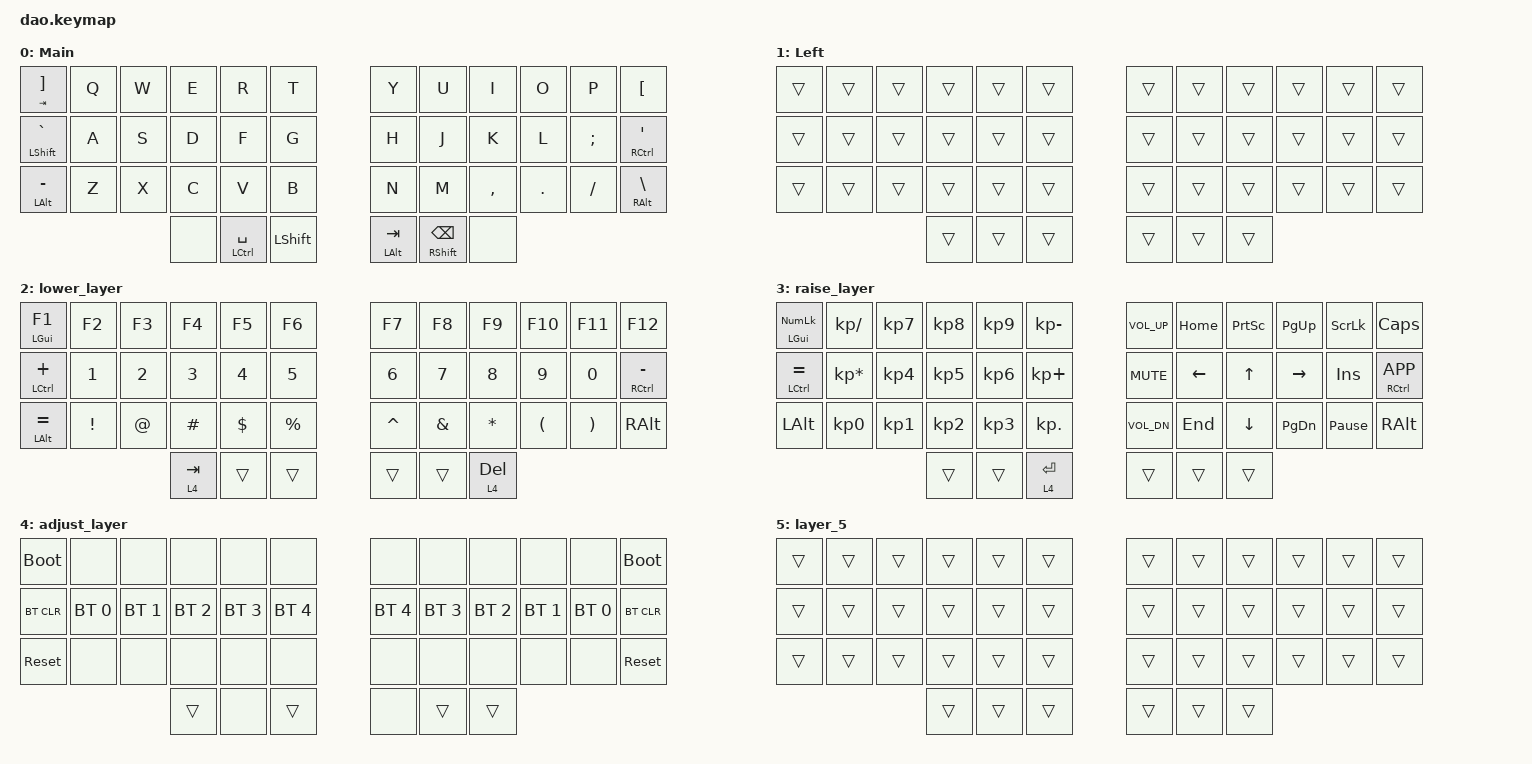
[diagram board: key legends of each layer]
/*
 * Copyright (c) 2021 Rafael Yumagulov
 *
 * SPDX-License-Identifier: MIT
 */

#include <behaviors.dtsi>
#include <dt-bindings/zmk/bt.h>
#include <dt-bindings/zmk/keys.h>

#define DEF 0
#define LWR 1
#define RSE 2
#define ADJ 3

&lt {
    quick_tap_ms = <200>;
};

&mt {
    quick_tap_ms = <200>;
};

/ {
    chosen {
        zmk,matrix_transform = &default_transform;

        // zmk,matrix_transform = &extra_keys_transform;
    };
};

/ {
    combos {
        compatible = "zmk,combos";

        esc_combo {
            bindings = <&kp ESCAPE>;
            key-positions = <1 2>;
            layers = <0>;
            timeout-ms = <50>;
        };

        enter_combo {
            bindings = <&kp ENTER>;
            key-positions = <16 15>;
        };
    };

    keymap {
        compatible = "zmk,keymap";

        Main {
            bindings = <
   &mt TAB RBKT  &kp Q  &kp W  &kp E                   &kp R       &kp T         &kp Y                &kp U      &kp I    &kp O     &kp P       &kp LBKT
&mt LSHFT GRAVE  &kp A  &kp S  &kp D                   &kp F       &kp G         &kp H                &kp J      &kp K    &kp L  &kp SEMI  &mt RCTRL SQT
 &mt LALT MINUS  &kp Z  &kp X  &kp C                   &kp V       &kp B         &kp N                &kp M  &kp COMMA  &kp DOT  &kp FSLH  &mt RALT BSLH
                               &none  &mt LEFT_CONTROL SPACE  &kp LSHIFT  &mt LALT TAB  &mt RSHFT BACKSPACE      &none
            >;
        };

        Left {
            bindings = <
&trans  &trans  &trans  &trans  &trans  &trans  &trans  &trans  &trans  &trans  &trans  &trans
&trans  &trans  &trans  &trans  &trans  &trans  &trans  &trans  &trans  &trans  &trans  &trans
&trans  &trans  &trans  &trans  &trans  &trans  &trans  &trans  &trans  &trans  &trans  &trans
                        &trans  &trans  &trans  &trans  &trans  &trans
            >;
        };

        lower_layer {
            bindings = <
   &mt LGUI F1        &kp F2        &kp F3        &kp F4        &kp F5        &kp F6        &kp F7        &kp F8        &kp F9       &kp F10       &kp F11          &kp F12
&mt LCTRL PLUS  &kp NUMBER_1  &kp NUMBER_2  &kp NUMBER_3  &kp NUMBER_4  &kp NUMBER_5  &kp NUMBER_6  &kp NUMBER_7  &kp NUMBER_8  &kp NUMBER_9  &kp NUMBER_0  &mt RCTRL MINUS
&mt LALT EQUAL      &kp EXCL        &kp AT      &kp HASH      &kp DLLR     &kp PRCNT     &kp CARET      &kp AMPS      &kp STAR      &kp LPAR      &kp RPAR         &kp RALT
                                               &lt 4 TAB        &trans        &trans        &trans        &trans     &lt 4 DEL
            >;
        };

        raise_layer {
            bindings = <
&mt LGUI KP_NUM     &kp KP_SLASH  &kp KP_N7  &kp KP_N8  &kp KP_N9  &kp KP_MINUS  &kp C_VOL_UP  &kp HOME  &kp PSCRN  &kp PG_UP         &kp SLCK         &kp CLCK
&mt LCTRL EQUAL  &kp KP_MULTIPLY  &kp KP_N4  &kp KP_N5  &kp KP_N6   &kp KP_PLUS    &kp C_MUTE  &kp LEFT     &kp UP  &kp RIGHT          &kp INS  &mt RCTRL K_APP
       &kp LALT        &kp KP_N0  &kp KP_N1  &kp KP_N2  &kp KP_N3    &kp KP_DOT  &kp C_VOL_DN   &kp END   &kp DOWN  &kp PG_DN  &kp PAUSE_BREAK         &kp RALT
                                                &trans     &trans     &lt 4 RET        &trans    &trans     &trans
            >;
        };

        adjust_layer {
            bindings = <
&bootloader         &none         &none         &none         &none         &none         &none         &none         &none         &none         &none  &bootloader
 &bt BT_CLR  &bt BT_SEL 0  &bt BT_SEL 1  &bt BT_SEL 2  &bt BT_SEL 3  &bt BT_SEL 4  &bt BT_SEL 4  &bt BT_SEL 3  &bt BT_SEL 2  &bt BT_SEL 1  &bt BT_SEL 0   &bt BT_CLR
 &sys_reset         &none         &none         &none         &none         &none         &none         &none         &none         &none         &none   &sys_reset
                                               &trans         &none        &trans         &none        &trans        &trans
            >;
        };

        layer_5 {
            bindings = <
&trans  &trans  &trans  &trans  &trans  &trans  &trans  &trans  &trans  &trans  &trans  &trans
&trans  &trans  &trans  &trans  &trans  &trans  &trans  &trans  &trans  &trans  &trans  &trans
&trans  &trans  &trans  &trans  &trans  &trans  &trans  &trans  &trans  &trans  &trans  &trans
                        &trans  &trans  &trans  &trans  &trans  &trans
            >;
        };
    };
};
